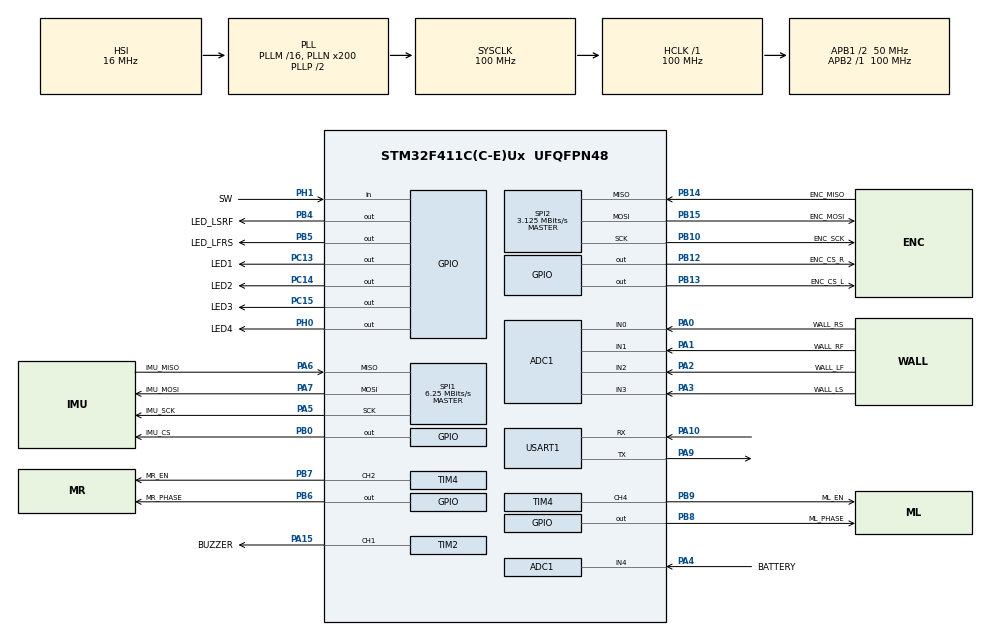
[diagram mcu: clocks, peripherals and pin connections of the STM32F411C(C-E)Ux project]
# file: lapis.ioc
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ADC1.Channel-0\#ChannelRegularConversion=ADC_CHANNEL_0
ADC1.Channel-4\#ChannelRegularConversion=ADC_CHANNEL_1
ADC1.Channel-5\#ChannelRegularConversion=ADC_CHANNEL_2
ADC1.Channel-6\#ChannelRegularConversion=ADC_CHANNEL_3
ADC1.Channel-7\#ChannelRegularConversion=ADC_CHANNEL_4
ADC1.ContinuousConvMode=ENABLE
ADC1.DMAContinuousRequests=ENABLE
ADC1.DiscontinuousConvMode=DISABLE
ADC1.InjNumberOfConversion=0
ADC1.NbrOfConversion=5
ADC1.NbrOfConversionFlag=1
ADC1.Rank-0\#ChannelRegularConversion=1
ADC1.Rank-4\#ChannelRegularConversion=2
ADC1.Rank-5\#ChannelRegularConversion=3
ADC1.Rank-6\#ChannelRegularConversion=4
ADC1.Rank-7\#ChannelRegularConversion=5
ADC1.SamplingTime-0\#ChannelRegularConversion=ADC_SAMPLETIME_28CYCLES
ADC1.SamplingTime-4\#ChannelRegularConversion=ADC_SAMPLETIME_28CYCLES
ADC1.SamplingTime-5\#ChannelRegularConversion=ADC_SAMPLETIME_28CYCLES
ADC1.SamplingTime-6\#ChannelRegularConversion=ADC_SAMPLETIME_28CYCLES
ADC1.SamplingTime-7\#ChannelRegularConversion=ADC_SAMPLETIME_84CYCLES
ADC1.ScanConvMode=ENABLE
ADC1.master=1
Dma.ADC1.0.Direction=DMA_PERIPH_TO_MEMORY
Dma.ADC1.0.FIFOMode=DMA_FIFOMODE_DISABLE
Dma.ADC1.0.Instance=DMA2_Stream0
Dma.ADC1.0.MemDataAlignment=DMA_MDATAALIGN_HALFWORD
Dma.ADC1.0.MemInc=DMA_MINC_ENABLE
Dma.ADC1.0.Mode=DMA_CIRCULAR
Dma.ADC1.0.PeriphDataAlignment=DMA_PDATAALIGN_HALFWORD
Dma.ADC1.0.PeriphInc=DMA_PINC_DISABLE
Dma.ADC1.0.Priority=DMA_PRIORITY_LOW
Dma.Request0=ADC1
Mcu.Family=STM32F4
Mcu.Name=STM32F411C(C-E)Ux
Mcu.Package=UFQFPN48
NVIC.DMA2_Stream0_IRQn=true\:0\:0\:false\:false\:true\:false\:true
NVIC.FLASH_IRQn=true\:0\:0\:false\:false\:true\:true\:true
NVIC.PriorityGroup=NVIC_PRIORITYGROUP_4
NVIC.TIM1_BRK_TIM9_IRQn=true\:0\:0\:false\:false\:true\:true\:true
NVIC.TIM1_CC_IRQn=true\:0\:0\:false\:false\:true\:true\:true
NVIC.TIM1_TRG_COM_TIM11_IRQn=true\:0\:0\:false\:false\:true\:true\:true
NVIC.TIM1_UP_TIM10_IRQn=true\:0\:0\:false\:false\:true\:true\:true
NVIC.TIM4_IRQn=true\:0\:0\:false\:false\:true\:true\:true
PA0-WKUP.GPIO_Label=WALL_RS
PA0-WKUP.Signal=ADCx_IN0
PA1.GPIO_Label=WALL_RF
PA1.Signal=ADCx_IN1
PA10.Mode=Asynchronous
PA10.Signal=USART1_RX
PA15.GPIO_Label=BUZZER
PA15.Signal=S_TIM2_CH1_ETR
PA2.GPIO_Label=WALL_LF
PA2.Signal=ADCx_IN2
PA3.GPIO_Label=WALL_LS
PA3.Signal=ADCx_IN3
PA4.GPIO_Label=BATTERY
PA4.Signal=ADCx_IN4
PA5.GPIO_Label=IMU_SCK
PA5.Mode=Full_Duplex_Master
PA5.Signal=SPI1_SCK
PA6.GPIO_Label=IMU_MISO
PA6.Mode=Full_Duplex_Master
PA6.Signal=SPI1_MISO
PA7.GPIO_Label=IMU_MOSI
PA7.Mode=Full_Duplex_Master
PA7.Signal=SPI1_MOSI
PA9.Mode=Asynchronous
PA9.Signal=USART1_TX
PB0.GPIO_Label=IMU_CS
PB0.GPIO_PuPd=GPIO_PULLUP
PB0.GPIO_Speed=GPIO_SPEED_FREQ_MEDIUM
PB0.Signal=GPIO_Output
PB10.GPIO_Label=ENC_SCK
PB10.Mode=Full_Duplex_Master
PB10.Signal=SPI2_SCK
PB12.GPIO_Label=ENC_CS_R
PB12.Signal=GPIO_Output
PB13.GPIO_Label=ENC_CS_L
PB13.Signal=GPIO_Output
PB14.GPIO_Label=ENC_MISO
PB14.Mode=Full_Duplex_Master
PB14.Signal=SPI2_MISO
PB15.GPIO_Label=ENC_MOSI
PB15.Mode=Full_Duplex_Master
PB15.Signal=SPI2_MOSI
PB4.GPIO_Label=LED_LSRF
PB4.Signal=GPIO_Output
PB5.GPIO_Label=LED_LFRS
PB5.Signal=GPIO_Output
PB6.GPIO_Label=MR_PHASE
PB6.Signal=GPIO_Output
PB7.GPIO_Label=MR_EN
PB7.Signal=S_TIM4_CH2
PB8.GPIO_Label=ML_PHASE
PB8.Signal=GPIO_Output
PB9.GPIO_Label=ML_EN
PB9.Signal=S_TIM4_CH4
PC13-ANTI_TAMP.GPIO_Label=LED1
PC13-ANTI_TAMP.Signal=GPIO_Output
PC14-OSC32_IN.GPIO_Label=LED2
PC14-OSC32_IN.Signal=GPIO_Output
PC15-OSC32_OUT.GPIO_Label=LED3
PC15-OSC32_OUT.Signal=GPIO_Output
PH0\ -\ OSC_IN.GPIO_Label=LED4
PH0\ -\ OSC_IN.Signal=GPIO_Output
PH1\ -\ OSC_OUT.GPIO_Label=SW
PH1\ -\ OSC_OUT.Signal=GPIO_Input
ProjectManager.HeapSize=0x200
ProjectManager.StackSize=0x400
ProjectManager.TargetToolchain=STM32CubeIDE
RCC.48MHZClocksFreq_Value=50000000
RCC.AHBFreq_Value=100000000
RCC.APB1CLKDivider=RCC_HCLK_DIV2
RCC.APB1Freq_Value=50000000
RCC.APB1TimFreq_Value=100000000
RCC.APB2Freq_Value=100000000
RCC.APB2TimFreq_Value=100000000
RCC.CortexFreq_Value=100000000
RCC.HCLKFreq_Value=100000000
RCC.HSE_VALUE=25000000
RCC.HSI_VALUE=16000000
RCC.LSE_VALUE=32768
RCC.PLLN=200
RCC.SYSCLKFreq_VALUE=100000000
RCC.SYSCLKSource=RCC_SYSCLKSOURCE_PLLCLK
RCC.VCOOutputFreq_Value=200000000
SH.ADCx_IN0.0=ADC1_IN0,IN0
SH.ADCx_IN1.0=ADC1_IN1,IN1
SH.ADCx_IN2.0=ADC1_IN2,IN2
SH.ADCx_IN3.0=ADC1_IN3,IN3
SH.ADCx_IN4.0=ADC1_IN4,IN4
SH.S_TIM2_CH1_ETR.0=TIM2_CH1,PWM Generation1 CH1
SH.S_TIM4_CH2.0=TIM4_CH2,PWM Generation2 CH2
SH.S_TIM4_CH4.0=TIM4_CH4,PWM Generation4 CH4
SPI1.BaudRatePrescaler=SPI_BAUDRATEPRESCALER_16
SPI1.CLKPhase=SPI_PHASE_1EDGE
SPI1.CLKPolarity=SPI_POLARITY_LOW
SPI1.CalculateBaudRate=6.25 MBits/s
SPI1.Direction=SPI_DIRECTION_2LINES
SPI1.Mode=SPI_MODE_MASTER
SPI1.VirtualType=VM_MASTER
SPI2.BaudRatePrescaler=SPI_BAUDRATEPRESCALER_16
SPI2.CLKPhase=SPI_PHASE_2EDGE
SPI2.CLKPolarity=SPI_POLARITY_LOW
SPI2.CalculateBaudRate=3.125 MBits/s
SPI2.DataSize=SPI_DATASIZE_16BIT
SPI2.Direction=SPI_DIRECTION_2LINES
SPI2.Mode=SPI_MODE_MASTER
SPI2.VirtualType=VM_MASTER
TIM1.Period=99
TIM1.Prescaler=999
TIM2.Channel-PWM\ Generation1\ CH1=TIM_CHANNEL_1
TIM4.Channel-PWM\ Generation2\ CH2=TIM_CHANNEL_2
TIM4.Channel-PWM\ Generation4\ CH4=TIM_CHANNEL_4
TIM4.Period=999
TIM4.Prescaler=0
USART1.VirtualMode=VM_ASYNC
VP_TIM1_VS_ClockSourceINT.Mode=Internal
board=custom

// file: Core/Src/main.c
/* USER CODE BEGIN Header */
/**
 ******************************************************************************
 * @file           : main.c
 * @brief          : Main program body
 ******************************************************************************
 * @attention
 *
 * <h2><center>&copy; Copyright (c) 2021 STMicroelectronics.
 * All rights reserved.</center></h2>
 *
 * This software component is licensed by ST under BSD 3-Clause license,
 * the "License"; You may not use this file except in compliance with the
 * License. You may obtain a copy of the License at:
 *                        opensource.org/licenses/BSD-3-Clause
 *
 ******************************************************************************
 */
/* USER CODE END Header */

#include "main.h"

/* USER CODE BEGIN Includes */
#include"ICM20602.h"
#include "AS5047P.h"
#include"timer.h"
#include"lapis.h"
#include"motor.h"
#include "wallsensor.h"
#include"adc.h"
#include"UI.h"
/* USER CODE END Includes */

ADC_HandleTypeDef hadc1;
DMA_HandleTypeDef hdma_adc1;

SPI_HandleTypeDef hspi1;
SPI_HandleTypeDef hspi2;

TIM_HandleTypeDef htim1;
TIM_HandleTypeDef htim2;
TIM_HandleTypeDef htim4;

UART_HandleTypeDef huart1;

void SystemClock_Config(void);
static void MX_GPIO_Init(void);
static void MX_DMA_Init(void);
static void MX_ADC1_Init(void);
static void MX_SPI1_Init(void);
static void MX_SPI2_Init(void);
static void MX_TIM2_Init(void);
static void MX_TIM4_Init(void);
static void MX_USART1_UART_Init(void);
static void MX_TIM1_Init(void);

int main(void)
{

  /* MCU Configuration--------------------------------------------------------*/

  /* Reset of all peripherals, Initializes the Flash interface and the Systick. */
  HAL_Init();

  /* Configure the system clock */
  SystemClock_Config();

  /* Initialize all configured peripherals */
  MX_GPIO_Init();
  MX_DMA_Init();
  MX_ADC1_Init();
  MX_SPI1_Init();
  MX_SPI2_Init();
  MX_TIM2_Init();
  MX_TIM4_Init();
  MX_USART1_UART_Init();
  MX_TIM1_Init();
  /* USER CODE BEGIN 2 */
//  mpu6500_init();
//  HAL_ADC_Calibration_Start(&hadc1, ADC_SINGLE_ENDED);
//
	setbuf( stdout, NULL);
//  HAL_TIM_Base_Start_IT(&htim3);

	icm20602_init();
	AS5047_Init();
	init_Motor();
	init_wallSensor();
	AS5047_SetZeroPosition(ENC_R);
	AS5047_SetZeroPosition(ENC_L);

	adc_dma_start();
	HAL_TIM_Base_Start_IT(&htim4);
	printf("init OK\n");
	tone(tone_C, 100);
	HAL_Delay(100);
	tone(tone_G, 100);

	HAL_TIM_Base_Start_IT(&htim1);
  /* USER CODE END 2 */

  /* Infinite loop */
  /* USER CODE BEGIN WHILE */
	while (1) {
		lapis();
    /* USER CODE END WHILE */

	}
}

void SystemClock_Config(void)
{
  RCC_OscInitTypeDef RCC_OscInitStruct = {0};
  RCC_ClkInitTypeDef RCC_ClkInitStruct = {0};

  /** Configure the main internal regulator output voltage
  */
  __HAL_RCC_PWR_CLK_ENABLE();
  __HAL_PWR_VOLTAGESCALING_CONFIG(PWR_REGULATOR_VOLTAGE_SCALE1);
  /** Initializes the CPU, AHB and APB busses clocks
  */
  RCC_OscInitStruct.OscillatorType = RCC_OSCILLATORTYPE_HSI;
  RCC_OscInitStruct.HSIState = RCC_HSI_ON;
  RCC_OscInitStruct.HSICalibrationValue = RCC_HSICALIBRATION_DEFAULT;
  RCC_OscInitStruct.PLL.PLLState = RCC_PLL_ON;
  RCC_OscInitStruct.PLL.PLLSource = RCC_PLLSOURCE_HSI;
  RCC_OscInitStruct.PLL.PLLM = 16;
  RCC_OscInitStruct.PLL.PLLN = 200;
  RCC_OscInitStruct.PLL.PLLP = RCC_PLLP_DIV2;
  RCC_OscInitStruct.PLL.PLLQ = 4;
  if (HAL_RCC_OscConfig(&RCC_OscInitStruct) != HAL_OK)
  {
    Error_Handler();
  }
  /** Initializes the CPU, AHB and APB busses clocks
  */
  RCC_ClkInitStruct.ClockType = RCC_CLOCKTYPE_HCLK|RCC_CLOCKTYPE_SYSCLK
                              |RCC_CLOCKTYPE_PCLK1|RCC_CLOCKTYPE_PCLK2;
  RCC_ClkInitStruct.SYSCLKSource = RCC_SYSCLKSOURCE_PLLCLK;
  RCC_ClkInitStruct.AHBCLKDivider = RCC_SYSCLK_DIV1;
  RCC_ClkInitStruct.APB1CLKDivider = RCC_HCLK_DIV2;
  RCC_ClkInitStruct.APB2CLKDivider = RCC_HCLK_DIV1;

  if (HAL_RCC_ClockConfig(&RCC_ClkInitStruct, FLASH_LATENCY_3) != HAL_OK)
  {
    Error_Handler();
  }
}

static void MX_ADC1_Init(void)
{

  ADC_ChannelConfTypeDef sConfig = {0};

  /** Configure the global features of the ADC (Clock, Resolution, Data Alignment and number of conversion)
  */
  hadc1.Instance = ADC1;
  hadc1.Init.ClockPrescaler = ADC_CLOCK_SYNC_PCLK_DIV4;
  hadc1.Init.Resolution = ADC_RESOLUTION_12B;
  hadc1.Init.ScanConvMode = ENABLE;
  hadc1.Init.ContinuousConvMode = ENABLE;
  hadc1.Init.DiscontinuousConvMode = DISABLE;
  hadc1.Init.ExternalTrigConvEdge = ADC_EXTERNALTRIGCONVEDGE_NONE;
  hadc1.Init.ExternalTrigConv = ADC_SOFTWARE_START;
  hadc1.Init.DataAlign = ADC_DATAALIGN_RIGHT;
  hadc1.Init.NbrOfConversion = 5;
  hadc1.Init.DMAContinuousRequests = ENABLE;
  hadc1.Init.EOCSelection = ADC_EOC_SINGLE_CONV;
  if (HAL_ADC_Init(&hadc1) != HAL_OK)
  {
    Error_Handler();
  }
  /** Configure for the selected ADC regular channel its corresponding rank in the sequencer and its sample time.
  */
  sConfig.Channel = ADC_CHANNEL_0;
  sConfig.Rank = 1;
  sConfig.SamplingTime = ADC_SAMPLETIME_28CYCLES;
  if (HAL_ADC_ConfigChannel(&hadc1, &sConfig) != HAL_OK)
  {
    Error_Handler();
  }
  /** Configure for the selected ADC regular channel its corresponding rank in the sequencer and its sample time.
  */
  sConfig.Channel = ADC_CHANNEL_1;
  sConfig.Rank = 2;
  if (HAL_ADC_ConfigChannel(&hadc1, &sConfig) != HAL_OK)
  {
    Error_Handler();
  }
  /** Configure for the selected ADC regular channel its corresponding rank in the sequencer and its sample time.
  */
  sConfig.Channel = ADC_CHANNEL_2;
  sConfig.Rank = 3;
  if (HAL_ADC_ConfigChannel(&hadc1, &sConfig) != HAL_OK)
  {
    Error_Handler();
  }
  /** Configure for the selected ADC regular channel its corresponding rank in the sequencer and its sample time.
  */
  sConfig.Channel = ADC_CHANNEL_3;
  sConfig.Rank = 4;
  if (HAL_ADC_ConfigChannel(&hadc1, &sConfig) != HAL_OK)
  {
    Error_Handler();
  }
  /** Configure for the selected ADC regular channel its corresponding rank in the sequencer and its sample time.
  */
  sConfig.Channel = ADC_CHANNEL_4;
  sConfig.Rank = 5;
  sConfig.SamplingTime = ADC_SAMPLETIME_84CYCLES;
  if (HAL_ADC_ConfigChannel(&hadc1, &sConfig) != HAL_OK)
  {
    Error_Handler();
  }

}

static void MX_SPI1_Init(void)
{

  /* SPI1 parameter configuration*/
  hspi1.Instance = SPI1;
  hspi1.Init.Mode = SPI_MODE_MASTER;
  hspi1.Init.Direction = SPI_DIRECTION_2LINES;
  hspi1.Init.DataSize = SPI_DATASIZE_8BIT;
  hspi1.Init.CLKPolarity = SPI_POLARITY_LOW;
  hspi1.Init.CLKPhase = SPI_PHASE_1EDGE;
  hspi1.Init.NSS = SPI_NSS_SOFT;
  hspi1.Init.BaudRatePrescaler = SPI_BAUDRATEPRESCALER_16;
  hspi1.Init.FirstBit = SPI_FIRSTBIT_MSB;
  hspi1.Init.TIMode = SPI_TIMODE_DISABLE;
  hspi1.Init.CRCCalculation = SPI_CRCCALCULATION_DISABLE;
  hspi1.Init.CRCPolynomial = 10;
  if (HAL_SPI_Init(&hspi1) != HAL_OK)
  {
    Error_Handler();
  }

}

static void MX_SPI2_Init(void)
{

  /* SPI2 parameter configuration*/
  hspi2.Instance = SPI2;
  hspi2.Init.Mode = SPI_MODE_MASTER;
  hspi2.Init.Direction = SPI_DIRECTION_2LINES;
  hspi2.Init.DataSize = SPI_DATASIZE_16BIT;
  hspi2.Init.CLKPolarity = SPI_POLARITY_LOW;
  hspi2.Init.CLKPhase = SPI_PHASE_2EDGE;
  hspi2.Init.NSS = SPI_NSS_SOFT;
  hspi2.Init.BaudRatePrescaler = SPI_BAUDRATEPRESCALER_16;
  hspi2.Init.FirstBit = SPI_FIRSTBIT_MSB;
  hspi2.Init.TIMode = SPI_TIMODE_DISABLE;
  hspi2.Init.CRCCalculation = SPI_CRCCALCULATION_DISABLE;
  hspi2.Init.CRCPolynomial = 10;
  if (HAL_SPI_Init(&hspi2) != HAL_OK)
  {
    Error_Handler();
  }

}

static void MX_TIM1_Init(void)
{

  TIM_ClockConfigTypeDef sClockSourceConfig = {0};
  TIM_MasterConfigTypeDef sMasterConfig = {0};

  htim1.Instance = TIM1;
  htim1.Init.Prescaler = 999;
  htim1.Init.CounterMode = TIM_COUNTERMODE_UP;
  htim1.Init.Period = 99;
  htim1.Init.ClockDivision = TIM_CLOCKDIVISION_DIV1;
  htim1.Init.RepetitionCounter = 0;
  htim1.Init.AutoReloadPreload = TIM_AUTORELOAD_PRELOAD_DISABLE;
  if (HAL_TIM_Base_Init(&htim1) != HAL_OK)
  {
    Error_Handler();
  }
  sClockSourceConfig.ClockSource = TIM_CLOCKSOURCE_INTERNAL;
  if (HAL_TIM_ConfigClockSource(&htim1, &sClockSourceConfig) != HAL_OK)
  {
    Error_Handler();
  }
  sMasterConfig.MasterOutputTrigger = TIM_TRGO_RESET;
  sMasterConfig.MasterSlaveMode = TIM_MASTERSLAVEMODE_DISABLE;
  if (HAL_TIMEx_MasterConfigSynchronization(&htim1, &sMasterConfig) != HAL_OK)
  {
    Error_Handler();
  }

}

static void MX_TIM2_Init(void)
{

  TIM_MasterConfigTypeDef sMasterConfig = {0};
  TIM_OC_InitTypeDef sConfigOC = {0};

  htim2.Instance = TIM2;
  htim2.Init.Prescaler = 0;
  htim2.Init.CounterMode = TIM_COUNTERMODE_UP;
  htim2.Init.Period = 0;
  htim2.Init.ClockDivision = TIM_CLOCKDIVISION_DIV1;
  htim2.Init.AutoReloadPreload = TIM_AUTORELOAD_PRELOAD_DISABLE;
  if (HAL_TIM_PWM_Init(&htim2) != HAL_OK)
  {
    Error_Handler();
  }
  sMasterConfig.MasterOutputTrigger = TIM_TRGO_RESET;
  sMasterConfig.MasterSlaveMode = TIM_MASTERSLAVEMODE_DISABLE;
  if (HAL_TIMEx_MasterConfigSynchronization(&htim2, &sMasterConfig) != HAL_OK)
  {
    Error_Handler();
  }
  sConfigOC.OCMode = TIM_OCMODE_PWM1;
  sConfigOC.Pulse = 0;
  sConfigOC.OCPolarity = TIM_OCPOLARITY_HIGH;
  sConfigOC.OCFastMode = TIM_OCFAST_DISABLE;
  if (HAL_TIM_PWM_ConfigChannel(&htim2, &sConfigOC, TIM_CHANNEL_1) != HAL_OK)
  {
    Error_Handler();
  }
  HAL_TIM_MspPostInit(&htim2);

}

static void MX_TIM4_Init(void)
{

  TIM_MasterConfigTypeDef sMasterConfig = {0};
  TIM_OC_InitTypeDef sConfigOC = {0};

  htim4.Instance = TIM4;
  htim4.Init.Prescaler = 0;
  htim4.Init.CounterMode = TIM_COUNTERMODE_UP;
  htim4.Init.Period = 999;
  htim4.Init.ClockDivision = TIM_CLOCKDIVISION_DIV1;
  htim4.Init.AutoReloadPreload = TIM_AUTORELOAD_PRELOAD_DISABLE;
  if (HAL_TIM_PWM_Init(&htim4) != HAL_OK)
  {
    Error_Handler();
  }
  sMasterConfig.MasterOutputTrigger = TIM_TRGO_RESET;
  sMasterConfig.MasterSlaveMode = TIM_MASTERSLAVEMODE_DISABLE;
  if (HAL_TIMEx_MasterConfigSynchronization(&htim4, &sMasterConfig) != HAL_OK)
  {
    Error_Handler();
  }
  sConfigOC.OCMode = TIM_OCMODE_PWM1;
  sConfigOC.Pulse = 0;
  sConfigOC.OCPolarity = TIM_OCPOLARITY_HIGH;
  sConfigOC.OCFastMode = TIM_OCFAST_DISABLE;
  if (HAL_TIM_PWM_ConfigChannel(&htim4, &sConfigOC, TIM_CHANNEL_2) != HAL_OK)
  {
    Error_Handler();
  }
  if (HAL_TIM_PWM_ConfigChannel(&htim4, &sConfigOC, TIM_CHANNEL_4) != HAL_OK)
  {
    Error_Handler();
  }
  HAL_TIM_MspPostInit(&htim4);

}

static void MX_USART1_UART_Init(void)
{

  huart1.Instance = USART1;
  huart1.Init.BaudRate = 115200;
  huart1.Init.WordLength = UART_WORDLENGTH_8B;
  huart1.Init.StopBits = UART_STOPBITS_1;
  huart1.Init.Parity = UART_PARITY_NONE;
  huart1.Init.Mode = UART_MODE_TX_RX;
  huart1.Init.HwFlowCtl = UART_HWCONTROL_NONE;
  huart1.Init.OverSampling = UART_OVERSAMPLING_16;
  if (HAL_UART_Init(&huart1) != HAL_OK)
  {
    Error_Handler();
  }

}

static void MX_DMA_Init(void)
{

  /* DMA controller clock enable */
  __HAL_RCC_DMA2_CLK_ENABLE();

  /* DMA interrupt init */
  /* DMA2_Stream0_IRQn interrupt configuration */
  HAL_NVIC_SetPriority(DMA2_Stream0_IRQn, 0, 0);
  HAL_NVIC_EnableIRQ(DMA2_Stream0_IRQn);

}

static void MX_GPIO_Init(void)
{
  GPIO_InitTypeDef GPIO_InitStruct = {0};

  /* GPIO Ports Clock Enable */
  __HAL_RCC_GPIOC_CLK_ENABLE();
  __HAL_RCC_GPIOH_CLK_ENABLE();
  __HAL_RCC_GPIOA_CLK_ENABLE();
  __HAL_RCC_GPIOB_CLK_ENABLE();

  /*Configure GPIO pin Output Level */
  HAL_GPIO_WritePin(GPIOC, LED1_Pin|LED2_Pin|LED3_Pin, GPIO_PIN_RESET);

  /*Configure GPIO pin Output Level */
  HAL_GPIO_WritePin(LED4_GPIO_Port, LED4_Pin, GPIO_PIN_RESET);

  /*Configure GPIO pin Output Level */
  HAL_GPIO_WritePin(GPIOB, IMU_CS_Pin|ENC_CS_R_Pin|ENC_CS_L_Pin|LED_LSRF_Pin
                          |LED_LFRS_Pin|MR_PHASE_Pin|ML_PHASE_Pin, GPIO_PIN_RESET);

  /*Configure GPIO pins : LED1_Pin LED2_Pin LED3_Pin */
  GPIO_InitStruct.Pin = LED1_Pin|LED2_Pin|LED3_Pin;
  GPIO_InitStruct.Mode = GPIO_MODE_OUTPUT_PP;
  GPIO_InitStruct.Pull = GPIO_NOPULL;
  GPIO_InitStruct.Speed = GPIO_SPEED_FREQ_LOW;
  HAL_GPIO_Init(GPIOC, &GPIO_InitStruct);

  /*Configure GPIO pin : LED4_Pin */
  GPIO_InitStruct.Pin = LED4_Pin;
  GPIO_InitStruct.Mode = GPIO_MODE_OUTPUT_PP;
  GPIO_InitStruct.Pull = GPIO_NOPULL;
  GPIO_InitStruct.Speed = GPIO_SPEED_FREQ_LOW;
  HAL_GPIO_Init(LED4_GPIO_Port, &GPIO_InitStruct);

  /*Configure GPIO pin : SW_Pin */
  GPIO_InitStruct.Pin = SW_Pin;
  GPIO_InitStruct.Mode = GPIO_MODE_INPUT;
  GPIO_InitStruct.Pull = GPIO_NOPULL;
  HAL_GPIO_Init(SW_GPIO_Port, &GPIO_InitStruct);

  /*Configure GPIO pin : IMU_CS_Pin */
  GPIO_InitStruct.Pin = IMU_CS_Pin;
  GPIO_InitStruct.Mode = GPIO_MODE_OUTPUT_PP;
  GPIO_InitStruct.Pull = GPIO_PULLUP;
  GPIO_InitStruct.Speed = GPIO_SPEED_FREQ_MEDIUM;
  HAL_GPIO_Init(IMU_CS_GPIO_Port, &GPIO_InitStruct);

  /*Configure GPIO pins : ENC_CS_R_Pin ENC_CS_L_Pin LED_LSRF_Pin LED_LFRS_Pin
                           MR_PHASE_Pin ML_PHASE_Pin */
  GPIO_InitStruct.Pin = ENC_CS_R_Pin|ENC_CS_L_Pin|LED_LSRF_Pin|LED_LFRS_Pin
                          |MR_PHASE_Pin|ML_PHASE_Pin;
  GPIO_InitStruct.Mode = GPIO_MODE_OUTPUT_PP;
  GPIO_InitStruct.Pull = GPIO_NOPULL;
  GPIO_InitStruct.Speed = GPIO_SPEED_FREQ_LOW;
  HAL_GPIO_Init(GPIOB, &GPIO_InitStruct);

}

void Error_Handler(void)
{
}

/************************ (C) COPYRIGHT STMicroelectronics *****END OF FILE****/
